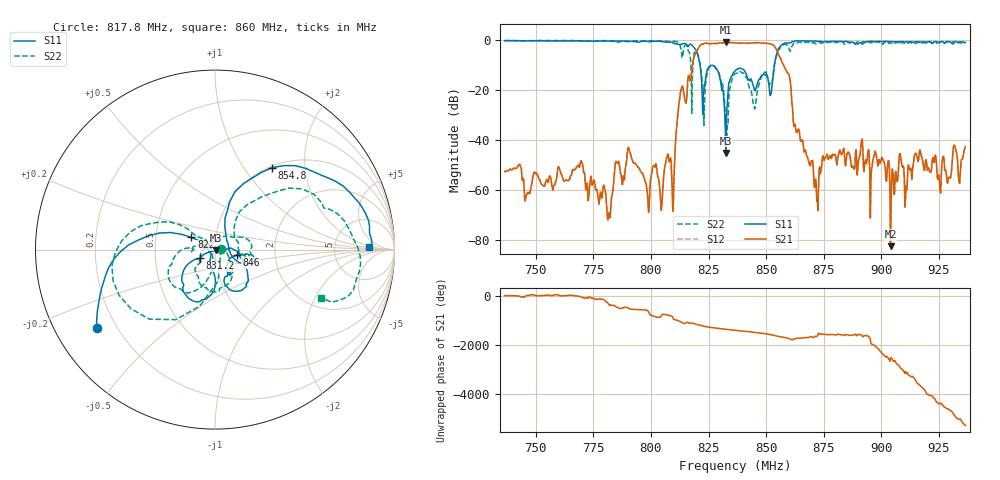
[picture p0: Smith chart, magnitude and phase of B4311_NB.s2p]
! Matrix data file written by TouchstoneData, EPCOS AG
! FILENAME: "LZ28A_X18Y18_Pcb03_NB.s2p_newformat"
! COMMENT: "(LZ28A_X18Y18_Pcb03_NB.s2p) Epcos AG 6/3/201"
! INFO: nport=2, nfreq=801
! DATE: "Mon Jun 20 20:14:19 2011"
! USER: "Michael Schemies"
! port | pin | signal
!  1  |  1  |  in
!  2  |  4  |  out
# MHZ S MA R 50
! freq  magS11 angS11  magS21 angS21  magS12 angS12  magS22 angS22
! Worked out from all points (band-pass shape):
!   801 points, 736.5 MHz to 936.5 MHz, reference 50 ohm
!   highest |S21| = -0.90 dB at 832.8 MHz (marker M1); lowest = -82.6 dB at 904 MHz (marker M2)
!   |S21| within 3 dB of the highest: 820.2 MHz to 854.5 MHz (34.3 MHz wide, 4.1 % of centre)
!   lowest |S11| = -45.2 dB at 832.5 MHz (marker M3), VSWR 1.01, Z = 50.3 - j0.45 ohm
!   |S11| at or under -10 dB: 821.3 MHz to 853.6 MHz (32.36 MHz wide, 3.86 % of centre)
!   |S22| runs from -42.7 to -0.2 dB; largest |S21 - S12| = 0.0011
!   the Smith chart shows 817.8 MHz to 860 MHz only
!   S11 on the Smith chart (normalised r, x): 817.8 MHz: 0.13, -0.29; 822 MHz: 0.76, +0.11; 831.2 MHz: 0.84, -0.08; 846 MHz: 1.27, -0.08; 854.8 MHz: 1.02, +1.35; 860 MHz: 13, +1
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736.5  0.9622 -69.3  0.002324 9.5  0.002341 9.6  0.9743 -93.6
746.25  0.9657 -71.2  0.0008299 7.0  0.0008204 7.6  0.9677 -95.6
770  0.9553 -78.3  0.003538 -59.6  0.003557 -59.6  0.9549 -105.1
781.75  0.9488 -82.4  0.0003303 1.7  0.000309 9.6  0.9618 -111.2
790.5  0.9405 -88.5  0.006548 -164.0  0.006528 -163.9  0.9394 -112.5
803.25  0.9394 -100.4  0.001744 -153.5  0.001718 -153.6  0.9543 -132.0
809.5  0.8747 -113.8  0.0003692 -142.9  0.000373 -149.0  0.9316 -149.5
812.75  0.8126 -118.9  0.08423 29.1  0.08435 29.1  0.7495 179.8
817.75  0.7901 -146.7  0.2411 -28.3  0.241 -28.2  0.03359 2.0
822  0.1486 152.5  0.8211 -142.1  0.8209 -142.2  0.1974 143.0
831.25  0.09832 -150.4  0.871 87.6  0.8714 87.6  0.1232 172.6
832.5  0.005469 -54.9  0.9002 72.9  0.9008 72.9  0.02142 166.9
832.75  0.02285 -5.0  0.9019 69.9  0.9024 69.8  0.00733 -163.9
836.5  0.2376 -39.7  0.8737 30.6  0.8739 30.6  0.2099 -73.7
846  0.1236 -14.2  0.8852 -64.6  0.8857 -64.6  0.08348 60.1
854.75  0.5552 55.3  0.6097 154.2  0.6094 154.3  0.5363 39.7
860  0.8596 0.9  0.196 50.6  0.196 50.6  0.6485 -24.3
870  0.9476 -29.7  0.003825 120.0  0.003828 119.7  0.8604 -45.5
891  0.884 -43.7  0.006157 -139.6  0.006162 -139.6  0.8857 -68.6
903.25  0.9201 -51.8  0.003843 -63.7  0.00384 -63.9  0.8488 -71.9
904  0.9224 -51.6  7.395e-05 -39.6  7.675e-05 -20.6  0.8866 -73.3
936.5  0.8921 -57.9  0.007248 103.0  0.007253 103.0  0.8559 -79.8
